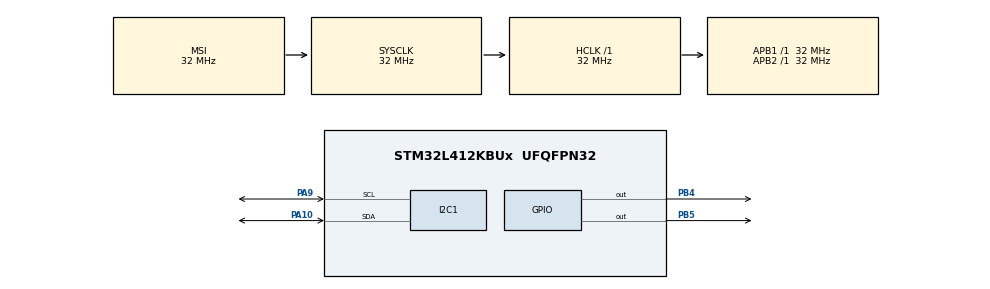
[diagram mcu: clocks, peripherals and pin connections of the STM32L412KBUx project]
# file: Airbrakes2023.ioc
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I2C1.Timing=0x00707CBB
Mcu.Family=STM32L4
Mcu.Name=STM32L412KBUx
Mcu.Package=UFQFPN32
NVIC.PriorityGroup=NVIC_PRIORITYGROUP_4
PA10.Mode=I2C
PA10.Signal=I2C1_SDA
PA9.Mode=I2C
PA9.Signal=I2C1_SCL
PB4\ (NJTRST).Signal=GPIO_Output
PB5.Signal=GPIO_Output
ProjectManager.HeapSize=0x200
ProjectManager.StackSize=0x400
ProjectManager.TargetToolchain=STM32CubeIDE
RCC.ADCFreq_Value=32000000
RCC.AHBFreq_Value=32000000
RCC.APB1Freq_Value=32000000
RCC.APB1TimFreq_Value=32000000
RCC.APB2Freq_Value=32000000
RCC.APB2TimFreq_Value=32000000
RCC.CortexFreq_Value=32000000
RCC.FLatency=FLASH_LATENCY_1
RCC.HCLKFreq_Value=32000000
RCC.HSE_VALUE=8000000
RCC.HSI48_VALUE=48000000
RCC.HSICalibrationValue=16
RCC.HSI_VALUE=16000000
RCC.LSE_VALUE=32768
RCC.MSIClockRange=RCC_MSIRANGE_10
RCC.MSI_VALUE=32000000
RCC.SYSCLKFreq_VALUE=32000000
RCC.USBFreq_Value=32000000
RCC.VCOOutputFreq_Value=256000000
board=NUCLEO-L412KB

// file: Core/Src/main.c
/* USER CODE BEGIN Header */
/**
  ******************************************************************************
  * @file           : main.c
  * @brief          : Main program body
  ******************************************************************************
  * @attention
  *
  * Copyright (c) 2023 STMicroelectronics.
  * All rights reserved.
  *
  * This software is licensed under terms that can be found in the LICENSE file
  * in the root directory of this software component.
  * If no LICENSE file comes with this software, it is provided AS-IS.
  *
  ******************************************************************************
  */
/* USER CODE END Header */
#include "main.h"

/* USER CODE BEGIN Includes */
#include "bno055.h"
#include "bno055_stm32.h"

/* USER CODE END Includes */

I2C_HandleTypeDef hi2c1;

/* USER CODE BEGIN PV */
float Ax;
float Ay;
float Az;

/* USER CODE END PV */

void SystemClock_Config(void);
static void MX_GPIO_Init(void);
static void MX_I2C1_Init(void);

int main(void)
{

  /* MCU Configuration--------------------------------------------------------*/

  /* Reset of all peripherals, Initializes the Flash interface and the Systick. */
  HAL_Init();

  /* Configure the system clock */
  SystemClock_Config();

  /* Initialize all configured peripherals */
  MX_GPIO_Init();
  MX_I2C1_Init();

  /* Infinite loop */
  /* USER CODE BEGIN WHILE */
  bno055_assignI2C(&hi2c1);
  bno055_setup();
  bno055_setOperationModeNDOF();

  int airbrakesFlag = 2;
  while (1)
  {
	  bno055_vector_t l = bno055_getVectorLinearAccel();
	  Ax=l.x;
	  Ay=l.y;
	  Az=l.z;

	  if((l.z>=4 || l.x >=4 || l.y>=4) && airbrakesFlag==2)
	                  {

	                    airbrakesFlag=1;
	                  }
	            if (airbrakesFlag == 1)
	            {
	                HAL_Delay(16180);
	                //extend airbrakes
	                HAL_GPIO_WritePin(GPIOB, GPIO_PIN_4, GPIO_PIN_SET);
	                HAL_GPIO_WritePin(GPIOB, GPIO_PIN_5, GPIO_PIN_RESET);

	                HAL_Delay(2200);
	                //stop extending
	                HAL_GPIO_WritePin(GPIOB, GPIO_PIN_4, GPIO_PIN_RESET);
	                HAL_GPIO_WritePin(GPIOB, GPIO_PIN_5, GPIO_PIN_RESET);

	                HAL_Delay(22270);
	                // start retracting
	                HAL_GPIO_WritePin(GPIOB, GPIO_PIN_4, GPIO_PIN_RESET);
	                HAL_GPIO_WritePin(GPIOB, GPIO_PIN_5, GPIO_PIN_SET);

	                HAL_Delay(2700);
	                // stop retracting
	                HAL_GPIO_WritePin(GPIOB, GPIO_PIN_4, GPIO_PIN_RESET);
	                HAL_GPIO_WritePin(GPIOB, GPIO_PIN_5, GPIO_PIN_RESET);

	                airbrakesFlag = 0;
	            }
    /* USER CODE END WHILE */

  }
}

void SystemClock_Config(void)
{
  RCC_OscInitTypeDef RCC_OscInitStruct = {0};
  RCC_ClkInitTypeDef RCC_ClkInitStruct = {0};

  /** Configure the main internal regulator output voltage
  */
  if (HAL_PWREx_ControlVoltageScaling(PWR_REGULATOR_VOLTAGE_SCALE1) != HAL_OK)
  {
    Error_Handler();
  }

  /** Initializes the RCC Oscillators according to the specified parameters
  * in the RCC_OscInitTypeDef structure.
  */
  RCC_OscInitStruct.OscillatorType = RCC_OSCILLATORTYPE_MSI;
  RCC_OscInitStruct.MSIState = RCC_MSI_ON;
  RCC_OscInitStruct.MSICalibrationValue = 0;
  RCC_OscInitStruct.MSIClockRange = RCC_MSIRANGE_10;
  RCC_OscInitStruct.PLL.PLLState = RCC_PLL_NONE;
  if (HAL_RCC_OscConfig(&RCC_OscInitStruct) != HAL_OK)
  {
    Error_Handler();
  }

  /** Initializes the CPU, AHB and APB buses clocks
  */
  RCC_ClkInitStruct.ClockType = RCC_CLOCKTYPE_HCLK|RCC_CLOCKTYPE_SYSCLK
                              |RCC_CLOCKTYPE_PCLK1|RCC_CLOCKTYPE_PCLK2;
  RCC_ClkInitStruct.SYSCLKSource = RCC_SYSCLKSOURCE_MSI;
  RCC_ClkInitStruct.AHBCLKDivider = RCC_SYSCLK_DIV1;
  RCC_ClkInitStruct.APB1CLKDivider = RCC_HCLK_DIV1;
  RCC_ClkInitStruct.APB2CLKDivider = RCC_HCLK_DIV1;

  if (HAL_RCC_ClockConfig(&RCC_ClkInitStruct, FLASH_LATENCY_1) != HAL_OK)
  {
    Error_Handler();
  }
}

static void MX_I2C1_Init(void)
{

  hi2c1.Instance = I2C1;
  hi2c1.Init.Timing = 0x00707CBB;
  hi2c1.Init.OwnAddress1 = 0;
  hi2c1.Init.AddressingMode = I2C_ADDRESSINGMODE_7BIT;
  hi2c1.Init.DualAddressMode = I2C_DUALADDRESS_DISABLE;
  hi2c1.Init.OwnAddress2 = 0;
  hi2c1.Init.OwnAddress2Masks = I2C_OA2_NOMASK;
  hi2c1.Init.GeneralCallMode = I2C_GENERALCALL_DISABLE;
  hi2c1.Init.NoStretchMode = I2C_NOSTRETCH_DISABLE;
  if (HAL_I2C_Init(&hi2c1) != HAL_OK)
  {
    Error_Handler();
  }

  /** Configure Analogue filter
  */
  if (HAL_I2CEx_ConfigAnalogFilter(&hi2c1, I2C_ANALOGFILTER_ENABLE) != HAL_OK)
  {
    Error_Handler();
  }

  /** Configure Digital filter
  */
  if (HAL_I2CEx_ConfigDigitalFilter(&hi2c1, 0) != HAL_OK)
  {
    Error_Handler();
  }

}

static void MX_GPIO_Init(void)
{
  GPIO_InitTypeDef GPIO_InitStruct = {0};

  /* GPIO Ports Clock Enable */
  __HAL_RCC_GPIOA_CLK_ENABLE();
  __HAL_RCC_GPIOB_CLK_ENABLE();

  /*Configure GPIO pin Output Level */
  HAL_GPIO_WritePin(GPIOB, GPIO_PIN_4|GPIO_PIN_5, GPIO_PIN_RESET);

  /*Configure GPIO pins : PB4 PB5 */
  GPIO_InitStruct.Pin = GPIO_PIN_4|GPIO_PIN_5;
  GPIO_InitStruct.Mode = GPIO_MODE_OUTPUT_PP;
  GPIO_InitStruct.Pull = GPIO_NOPULL;
  GPIO_InitStruct.Speed = GPIO_SPEED_FREQ_LOW;
  HAL_GPIO_Init(GPIOB, &GPIO_InitStruct);

}

void Error_Handler(void)
{
  __disable_irq();
  while (1)
  {
  }
}
